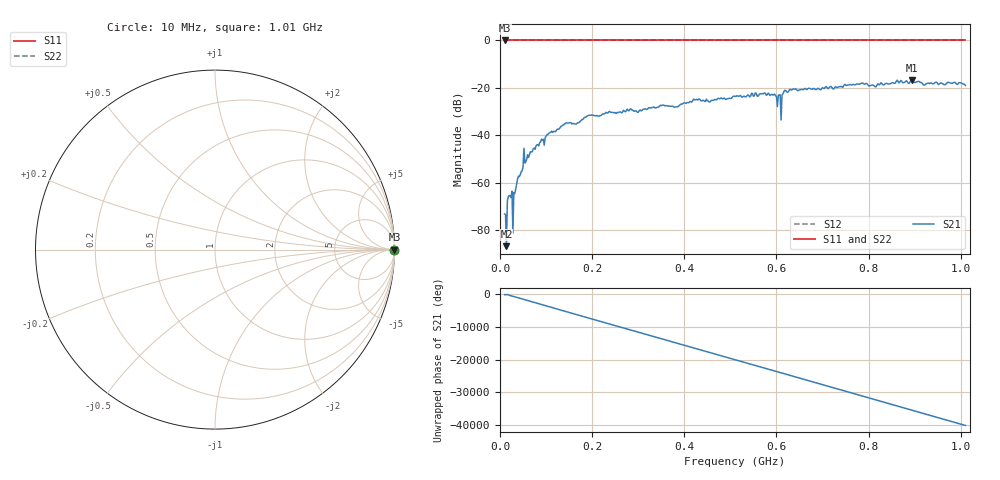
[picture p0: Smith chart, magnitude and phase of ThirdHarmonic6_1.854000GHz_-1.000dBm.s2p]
! 8/16/2025 10:25:53 PM
! C:\ANRITSUVNA\TEMP\TEMP.S2P
! CHANNEL.1
! TR.MEASUREMENT
! RAW.DATA
! RF.CORRECTION.OFF
! AVERAGING.OFF
! IF.BANDWIDTH: 5KHZ
! SWEEPTYPE:  FREQ.SWEEP(Linear)
! Reference Plane Port Info
! PORT:  PORT1  PORT2
! DISTANCE:  0  m  0  m
! TIME:  0  s  0  s
! PHASE.OFFSET:  0  deg.  0  deg.
! LOSS:  0  dB  0  dB
! REF.LOSS:  0  dB  0  dB
! REF.FREQ:  0  Hz  0  Hz
! Power Info
! POWER:  -20  dBm  -20  dBm
! EFF.POWER:  -20  dBm  -20  dBm
! SOURCE.ATTEN:  0  dB  0  dB
! TEST.ATTEN:  0  dB  0  dB
# GHZ S RI R 50.0
! FREQ.GHZ  S11RE  S11IM  S21RE  S21IM  S12RE  S12IM  S22RE  S22IM
!; PortSelection: Port_12
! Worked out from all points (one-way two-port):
!   501 points, 10 MHz to 1.01 GHz, reference 50 ohm
!   highest |S21| = -16.74 dB at 894 MHz (marker M1); lowest = -86.9 dB at 14 MHz (marker M2)
!   lowest |S11| = 0.0 dB at 10 MHz (marker M3)
!   |S11| at or under -10 dB: nowhere
!   |S22| runs from 0.0 to 0.0 dB; largest |S21 - S12| = 1.1
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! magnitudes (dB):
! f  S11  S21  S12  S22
! 10 MHz  0.0  -73.3  0.0  0.0
! 14 MHz  0.0  -86.9  0.0  0.0
! 22 MHz  0.0  -65.7  0.0  0.0
! 24 MHz  0.0  -66.3  0.0  0.0
! 32 MHz  0.0  -64.7  0.0  0.0
! 34 MHz  0.0  -62.9  0.0  0.0
! 56 MHz  0.0  -51.3  0.0  0.0
! 108 MHz  0.0  -38.9  0.0  0.0
! 142 MHz  0.0  -35.0  0.0  0.0
! 178 MHz  0.0  -33.4  0.0  0.0
! 194 MHz  0.0  -31.6  0.0  0.0
! 344 MHz  0.0  -28.2  0.0  0.0
! 510 MHz  0.0  -23.6  0.0  0.0
! 592 MHz  0.0  -23.1  0.0  0.0
! 604 MHz  0.0  -23.1  0.0  0.0
! 606 MHz  0.0  -23.0  0.0  0.0
! 614 MHz  0.0  -22.5  0.0  0.0
! 618 MHz  0.0  -21.0  0.0  0.0
! 678 MHz  0.0  -20.6  0.0  0.0
! 844 MHz  0.0  -18.4  0.0  0.0
! 894 MHz  0.0  -16.7  0.0  0.0
! 1.01 GHz  0.0  -19.0  0.0  0.0
